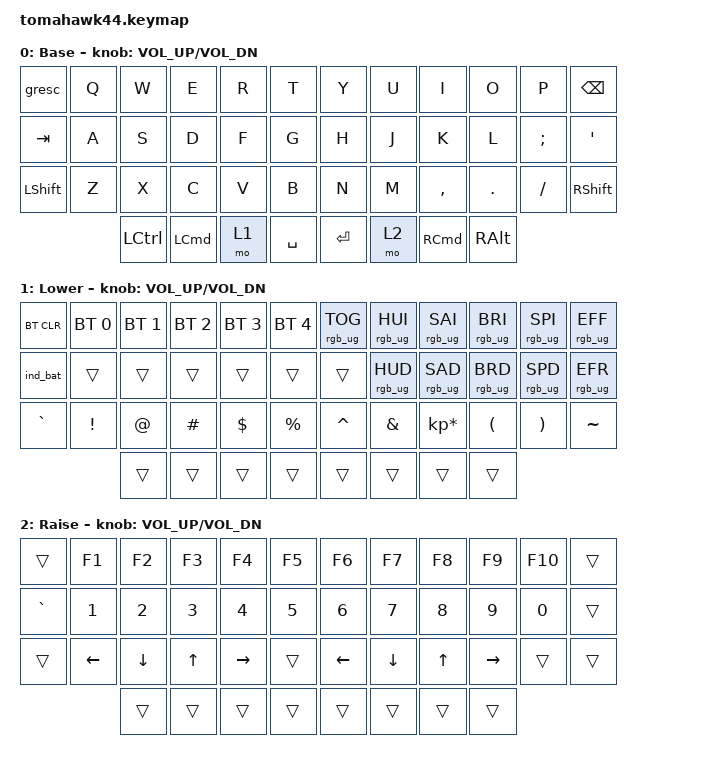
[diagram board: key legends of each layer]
/*
 * Copyright (c) 2020 The ZMK Contributors
 *
 * SPDX-License-Identifier: MIT
 */

#include <behaviors.dtsi>
#include <behaviors/rgbled_widget.dtsi>
#include <dt-bindings/zmk/bt.h>
#include <dt-bindings/zmk/keys.h>
#include <dt-bindings/zmk/rgb.h>
#include <dt-bindings/zmk/backlight.h>
#include "zmk-helpers/helper.h"
#include "zmk-helpers/key-labels/44.h"

/*
 * Assign the cs-gpios pin to 4.
 * Uncomment these next few lines if implementing nice!view Displays
 */

// nice_view_spi: &spi0 { cs-gpios = <&pro_micro 4 GPIO_ACTIVE_HIGH>; };

// Uncomment this block if using RGB
&led_strip {
    chain-length = <22>;
};

/ {
    keymap {
        compatible = "zmk,keymap";

        default_layer {
// ------------------------------------------------------------------------------------------------------------
// |  ESC  |  Q  |  W   |  E   |  R   |  T   |            |  Y   |  U   |  I    |  O   |   P   | BSPC  |
// |  TAB  |  A  |  S   |  D   |  F   |  G   |            |  H   |  J   |  K    |  L   |   ;   |   '   |
// | SHIFT |  Z  |  X   |  C   |  V   |  B   |            |  N   |  M   |  ,    |  .   |   /   | SHIFT |
//               | CTRL | CMD  |LOWER |SPACE |            |ENTER |RAISE |  CMD  | OPT  |

            display-name = "Base";
            bindings = <
&gresc          &kp Q   &kp W             &kp E             &kp R   &kp T                &kp Y   &kp U   &kp I              &kp O           &kp P     &kp BSPC
&kp TAB         &kp A   &kp S             &kp D             &kp F   &kp G                &kp H   &kp J   &kp K              &kp L           &kp SEMI  &kp SQT
&kp LEFT_SHIFT  &kp Z   &kp X             &kp C             &kp V   &kp B                &kp N   &kp M   &kp COMMA          &kp DOT         &kp FSLH  &kp RSHFT
                        &kp LEFT_CONTROL  &kp LEFT_COMMAND  &mo 1   &kp SPACE            &kp RET &mo 2   &kp RIGHT_COMMAND  &kp RIGHT_ALT
            >;

            sensor-bindings = <&inc_dec_kp C_VOL_UP C_VOL_DN>;
        };

        lower_layer {
// ------------------------------------------------------------------------------------------------------------
// | BTCLR | BT1 | BT2 |  BT3 |  BT4 |  BT5 |            |  UG  |  UG   |  UG   |  UG  |  UG   |  UG   |
// |  bat  |     |     |      |      |      |            |      |  UG   |  UG   |  UG  |  UG   |  UG   |
// |   `   |  !  |  @  |  #   |  $   |  %   |            |  ^   |  &    |  *    |  (   |   )   |   ~   |
//                     |      |      |      |            |      |       |       |

            display-name = "Lower";
            bindings = <
&bt BT_CLR  &bt BT_SEL 0  &bt BT_SEL 1  &bt BT_SEL 2  &bt BT_SEL 3  &bt BT_SEL 4         &rgb_ug RGB_TOG  &rgb_ug RGB_HUI  &rgb_ug RGB_SAI  &rgb_ug RGB_BRI  &rgb_ug RGB_SPI  &rgb_ug RGB_EFF
&ind_bat    &trans        &trans        &trans        &trans        &trans               &trans           &rgb_ug RGB_HUD  &rgb_ug RGB_SAD  &rgb_ug RGB_BRD  &rgb_ug RGB_SPD  &rgb_ug RGB_EFR
&kp GRAVE   &kp EXCL      &kp AT        &kp HASH      &kp DOLLAR    &kp PRCNT            &kp CARET  &kp AMPS   &kp KP_MULTIPLY  &kp LPAR  &kp RPAR  &kp TILDE
                          &trans        &trans        &trans        &trans               &trans  &trans     &trans     &trans
            >;

            sensor-bindings = <&inc_dec_kp C_VOL_UP C_VOL_DN>;
        };

        raise_layer {
// ------------------------------------------------------------------------------------------------------------
// |       |  F1 |  F2 |  F3  |  F4  |  F5  |            |  F6  |   F7  |   F8  |  F9  |   F10 |       |
// |   `   |  1  |  2  |  3   |  4   |  5   |            |  6   |   7   |   8   |  9   |   0   |       |
// |       |  <- |  v  |  ^   |  ->  |      |            |      |   <-  |   v   |  ^   |  ->   |       |
//                     |      |      |      |            |      |       |       |

            display-name = "Raise";
            bindings = <
&trans     &kp F1    &kp F2    &kp F3     &kp F4  &kp F5            &kp F6       &kp F7     &kp F8     &kp F9    &kp F10   &trans
&kp GRAVE  &kp N1    &kp N2    &kp N3     &kp N4  &kp N5            &kp N6       &kp N7     &kp N8     &kp N9    &kp N0    &trans
&trans     &kp LEFT  &kp DOWN  &kp UP     &kp RIGHT  &trans         &kp LEFT     &kp DOWN   &kp UP     &kp RIGHT    &trans    &trans
                     &trans    &trans     &trans  &trans            &trans       &trans     &trans     &trans
            >;

            sensor-bindings = <&inc_dec_kp C_VOL_UP C_VOL_DN>;
        };

        extra_1 { status = "reserved"; };

        extra_2 { status = "reserved"; };

        extra_3 { status = "reserved"; };
    };
};
